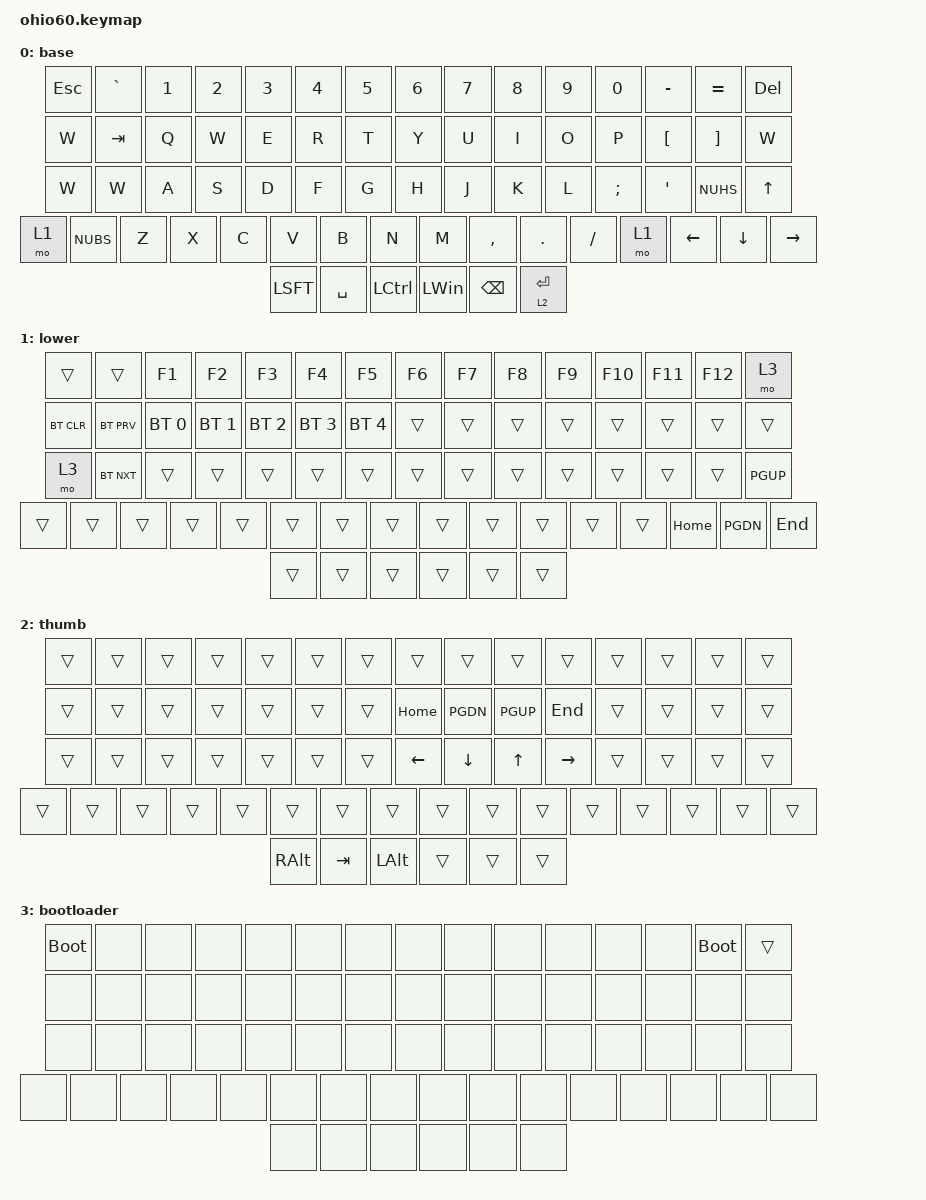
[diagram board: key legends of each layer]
#include <behaviors.dtsi>
#include <dt-bindings/zmk/keys.h>
#include <dt-bindings/zmk/bt.h>

&lt {
  quick-tap-ms = <150>;
};

/ {

    keymap {
        compatible = "zmk,keymap";
        base {
            bindings = <
        //╭──────────┬──────────┬──────────┬──────────┬──────────┬──────────┬──────────╮        ╭──────────┬──────────┬──────────┬──────────┬──────────╮──────────╮──────────╮──────────╮
        //│     ESC  │   ^      │  1       │  2       │  3       │  4       │  5       │        │  6       │  7       │  8       │  9       │  0       │  ß       │     ´          
             &kp ESC   &kp GRAV   &kp N1      &kp N2    &kp N3   &kp N4        &kp N5               &kp N6    &kp N7   &kp N8       &kp N9    &kp N0    &kp MINUS &kp EQL     &kp DEL 
        //┼──────────┼──────────├──────────┼──────────┼──────────┼──────────┼──────────┤        ├──────────┼──────────┼──────────┼──────────┼──────────┤──────────┤──────────┤──────────┤
        //│     w    │   TAB    │  Q       │  W       │  E       │  R       │  T       │        │  Z       │  U       │  I       │  O       │  P       │  Ü       │  +       │    w     │
            &kp W      &kp TAB      &kp Q   &kp W       &kp E       &kp R       &kp T               &kp Y       &kp U      &kp I    &kp O       &kp P     &kp LBKT   &kp RBKT  &kp W
        //┼──────────┼──────────├──────────┼──────────┼──────────┼──────────┼──────────┤        ├──────────┼──────────┼──────────┼──────────┼──────────┤──────────┤──────────┤──────────┤
        //│     w    │     w    │  A       │  S       │  D       │  F       │  G       │        │  H       │  J       │  K       │  L       │ ö        │ ä        │ #        │ up       │
            &kp W       &kp W       &kp A   &kp S       &kp D       &kp F       &kp G               &kp H       &kp J   &kp K       &kp L     &kp SEMI   &kp QUOT   &kp NUHS    &kp UP 
        //┼──────────┼──────────├──────────┼──────────┼──────────┼──────────┼──────────┤        ├──────────┼──────────┼──────────┼──────────┼──────────┤──────────┤──────────┤──────────┤──────────┤
        //│    FN1   │     <    │  Y       │  X       │  C       │  V       │  B       │       │  N       │  M       │ ,        │ .        │ -         │    FN    │ left     |   down   | right    |
           &mo 1        &kp NUBS   &kp Z    &kp X       &kp C       &kp V       &kp B               &kp N    &kp M     &kp CMMA     &kp DOT    &kp FSLH  &mo 1       &kp LEFT  &kp DOWN     &kp RIGHT
        //╰──────────┴──────────┴──────────┴──────────┴──────────┼──────────┼──────────┤        ├──────────┼──────────┼──────────┴──────────┴──────────╯──────────╯──────────╯──────────╯──────────╯
        //                                                 shift    space //TAB CNTRL              WIN   bspace     enter(FN)                   
                                                        &kp LSFT    &kp SPC    &kp LCTL       &kp LWIN   &kp BSPC    &lt 2 ENTER   
        //                                             ╰──────────┴─────────┴──────────╯        ╰──────────┴─────────┴──────────╯
            >;
        };   


        lower {
            bindings = <
        //╭──────────┬──────────┬──────────┬──────────┬──────────┬──────────┬──────────╮        ╭──────────┬──────────┬──────────┬──────────┬──────────╮──────────╮──────────╮──────────╮
        //│          │          │   F1     │ F2       │  F3      │    F4    │   F5     │        │   F6     │  F7      │ F8       │   F9     │ F10      │F11       │ F12           
           &trans        &trans   &kp F1     &kp F2    &kp F3      &kp F4       &kp F5            &kp F6    &kp F7      &kp F8       &kp F9    &kp F10    &kp F11    &kp F12     &mo 3
        //┼──────────┼──────────├──────────┼──────────┼──────────┼──────────┼──────────┤        ├──────────┼──────────┼──────────┼──────────┼──────────┤──────────┤──────────┤──────────┤
        //│          │          │          │          │          │          │          │        │          │          │          │          │          │          │          │          │
        &bt BT_CLR   &bt BT_PRV &bt BT_SEL 0 &bt BT_SEL 1 &bt BT_SEL 2 &bt BT_SEL 3  &bt BT_SEL 4  &trans       &trans      &trans    &trans       &trans     &trans   &trans  &trans
        //┼──────────┼──────────├──────────┼──────────┼──────────┼──────────┼──────────┤        ├──────────┼──────────┼──────────┼──────────┼──────────┤──────────┤──────────┤──────────┤
        //│          │          │          │          │          │          │          │        │          │          │          │          │          │          │          │   pup    │
            &mo 3       &bt BT_NXT &trans   &trans       &trans       &trans    &trans            &trans     &trans     &trans       &trans     &trans    &trans    &trans      &kp PGUP 
        //┼──────────┼──────────├──────────┼──────────┼──────────┼──────────┼──────────┤        ├──────────┼──────────┼──────────┼──────────┼──────────┤──────────┤──────────┤──────────┤──────────┤
        //│          │          │          │          │          │          │          │        │          │          │          │          │          │          │ pos1     |  pdown   | end      |
            &trans       &trans   &trans    &trans       &trans       &trans       &trans               &trans    &trans     &trans     &trans    &trans  &trans     &kp HOME  &kp PGDN     &kp END
        //╰──────────┴──────────┴──────────┴──────────┴──────────┼──────────┼──────────┤        ├──────────┼──────────┼──────────┴──────────┴──────────╯──────────╯──────────╯──────────╯──────────╯
        //                                                                           
                                                        &trans     &trans     &trans                &trans   &trans    &trans   
        //                                             ╰──────────┴─────────┴──────────╯        ╰──────────┴─────────┴──────────╯
            >;
        };  


        thumb {
            bindings = <
        //╭──────────┬──────────┬──────────┬──────────┬──────────┬──────────┬──────────╮        ╭──────────┬──────────┬──────────┬──────────┬──────────╮──────────╮──────────╮──────────╮
        //│          │          │          │          │          │          │          │        │          │          │          │          │          │          │             
           &trans        &trans   &trans     &trans    &trans     &trans        &trans             &trans    &trans   &trans       &trans    &trans    &trans       &trans      &trans
        //┼──────────┼──────────├──────────┼──────────┼──────────┼──────────┼──────────┤        ├──────────┼──────────┼──────────┼──────────┼──────────┤──────────┤──────────┤──────────┤
        //│          │          │          │          │          │          │          │        │          │          │          │          │          │          │          │          │
            &trans      &trans      &trans   &trans       &trans     &trans       &trans           &kp HOME   &kp PGDN   &kp PGUP  &kp END   &trans     &trans   &trans      &trans
        //┼──────────┼──────────├──────────┼──────────┼──────────┼──────────┼──────────┤        ├──────────┼──────────┼──────────┼──────────┼──────────┤──────────┤──────────┤──────────┤
        //│          │          │          │          │          │          │          │        │  left     │ down    │  up      │   right  │          │          │          │       │
            &trans       &trans    &trans   &trans       &trans       &trans    &trans            &kp LEFT   &kp DOWN   &kp UP     &kp RIGHT    &trans    &trans    &trans      &trans 
        //┼──────────┼──────────├──────────┼──────────┼──────────┼──────────┼──────────┤        ├──────────┼──────────┼──────────┼──────────┼──────────┤──────────┤──────────┤──────────┤──────────┤
        //│          │          │          │          │          │          │          │        │          │          │          │          │          │          │          |         |       |
            &trans       &trans   &trans    &trans       &trans       &trans       &trans           &trans    &trans     &trans     &trans    &trans  &trans       &trans      &trans     &trans
        //╰──────────┴──────────┴──────────┴──────────┴──────────┼──────────┼──────────┤        ├──────────┼──────────┼──────────┴──────────┴──────────╯──────────╯──────────╯──────────╯──────────╯
        //                                                                           
                                                        &kp RALT     &kp TAB     &kp LALT             &trans   &trans    &trans   
        //                                             ╰──────────┴─────────┴──────────╯        ╰──────────┴─────────┴──────────╯
            >;
        }; 

        bootloader {
            bindings = <
        //╭──────────┬──────────┬──────────┬──────────┬──────────┬──────────┬──────────╮        ╭──────────┬──────────┬──────────┬──────────┬──────────╮──────────╮──────────╮──────────╮
        //│          │          │          │          │          │          │          │        │          │          │          │          │          │          │             
           &bootloader   &none   &none     &none    &none         &none        &none             &none    &none   &none       &none    &none          &none          &bootloader   &trans
        //┼──────────┼──────────├──────────┼──────────┼──────────┼──────────┼──────────┤        ├──────────┼──────────┼──────────┼──────────┼──────────┤──────────┤──────────┤──────────┤
        //│          │          │          │          │          │          │          │        │          │          │          │          │          │          │          │          │
            &none      &none          &none     &none       &none     &none       &none           &none       &none      &none    &none       &none     &none       &none  &none
        //┼──────────┼──────────├──────────┼──────────┼──────────┼──────────┼──────────┤        ├──────────┼──────────┼──────────┼──────────┼──────────┤──────────┤──────────┤──────────┤
        //│          │          │          │          │          │          │          │        │          │          │          │          │          │          │          │       │
            &none       &none    &none        &none       &none       &none    &none                &none     &none   &none       &none     &none          &none    &none      &none 
        //┼──────────┼──────────├──────────┼──────────┼──────────┼──────────┼──────────┤        ├──────────┼──────────┼──────────┼──────────┼──────────┤──────────┤──────────┤──────────┤──────────┤
        //│          │          │          │          │          │          │          │        │          │          │          │          │          │          │            |     |       |
            &none       &none     &none      &none       &none       &none       &none               &none    &none     &none     &none        &none     &none       &none  &none     &none
        //╰──────────┴──────────┴──────────┴──────────┴──────────┼──────────┼──────────┤        ├──────────┼──────────┼──────────┴──────────┴──────────╯──────────╯──────────╯──────────╯──────────╯
        //                                                                           
                                                        &none     &none     &none                &none        &none    &none   
        //                                             ╰──────────┴─────────┴──────────╯        ╰──────────┴─────────┴──────────╯
            >;
        }; 

    };

 }; 

 /*
       NAME {
            bindings = <
        //╭──────────┬──────────┬──────────┬──────────┬──────────┬──────────┬──────────╮        ╭──────────┬──────────┬──────────┬──────────┬──────────╮──────────╮──────────╮──────────╮
        //│          │          │          │          │          │          │          │        │          │          │          │          │          │          │             
           &trans        &trans   &trans     &trans    &trans     &trans        &trans             &trans    &trans   &trans       &trans    &trans    &trans       &trans      &trans
        //┼──────────┼──────────├──────────┼──────────┼──────────┼──────────┼──────────┤        ├──────────┼──────────┼──────────┼──────────┼──────────┤──────────┤──────────┤──────────┤
        //│          │          │          │          │          │          │          │        │          │          │          │          │          │          │          │          │
            &trans      &trans      &trans   &trans       &trans     &trans       &trans           &trans       &trans      &trans    &trans       &trans     &trans   &trans  &trans
        //┼──────────┼──────────├──────────┼──────────┼──────────┼──────────┼──────────┤        ├──────────┼──────────┼──────────┼──────────┼──────────┤──────────┤──────────┤──────────┤
        //│          │          │          │          │          │          │          │        │          │          │          │          │          │          │          │   pup    │
            &trans       &trans    &trans   &trans       &trans       &trans    &trans            &trans     &trans   &trans       &trans     &trans    &trans    &trans      &trans 
        //┼──────────┼──────────├──────────┼──────────┼──────────┼──────────┼──────────┤        ├──────────┼──────────┼──────────┼──────────┼──────────┤──────────┤──────────┤──────────┤──────────┤
        //│          │          │          │          │          │          │          │        │          │          │          │          │          │          │ pos1     |  pdown   | end      |
            &trans       &trans   &trans    &trans       &trans       &trans       &trans               &trans    &trans     &trans     &trans    &trans  &trans       &trans  &trans     &trans
        //╰──────────┴──────────┴──────────┴──────────┴──────────┼──────────┼──────────┤        ├──────────┼──────────┼──────────┴──────────┴──────────╯──────────╯──────────╯──────────╯──────────╯
        //                                                                           
                                                        &trans     &trans     &trans                &trans   &trans    &trans   
        //                                             ╰──────────┴─────────┴──────────╯        ╰──────────┴─────────┴──────────╯
            >;
        }; 
 */
